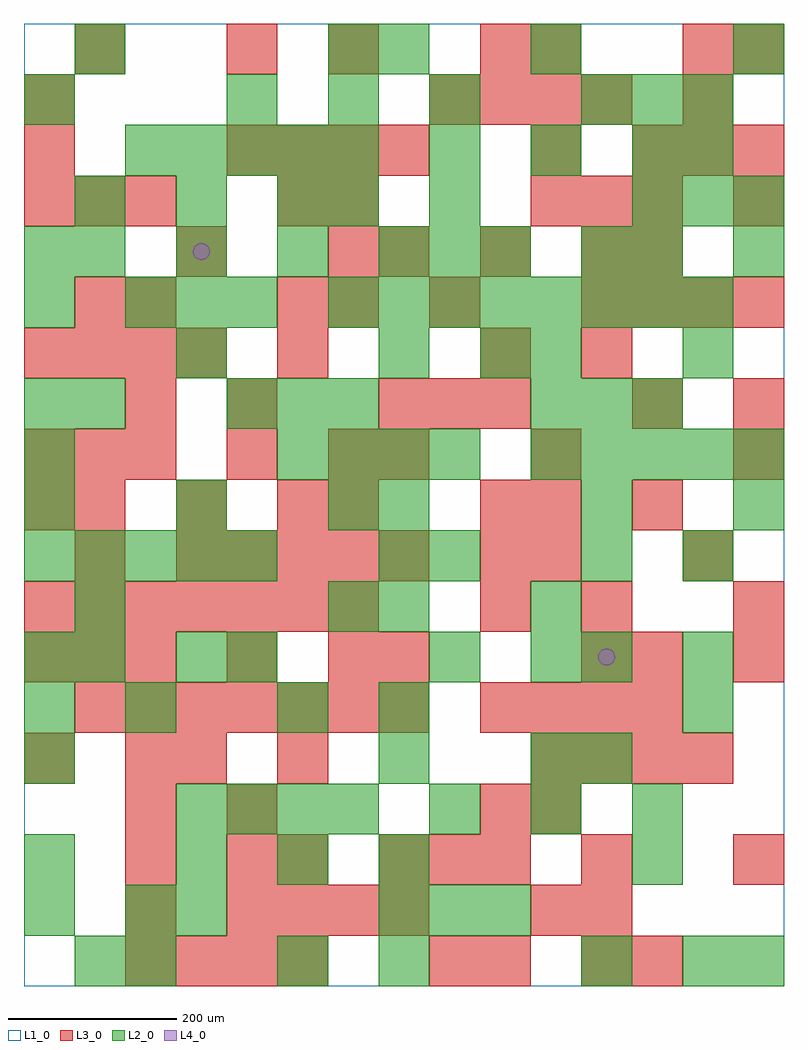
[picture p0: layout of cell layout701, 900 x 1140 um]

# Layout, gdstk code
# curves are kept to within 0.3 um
import gdstk
lib = gdstk.Library(unit=1e-6, precision=1e-09)
def R(c, l, rs):  # rectangles x0, y0, x1, y1
    for r in rs: c.add(gdstk.rectangle(r[:2], r[2:], *l))
def A(c, l, x, y, w, h, nx, ny, dx, dy):  # array of equal rectangles
    R(c, l, [(x+i*dx, y+j*dy, x+i*dx+w, y+j*dy+h) for i in range(nx) for j in range(ny)])
def P(c, l, *ps):  # polygons
    for p in ps: c.add(gdstk.Polygon(p, *l))
L1_0 = (1, 0)
L2_0 = (2, 0)
L3_0 = (3, 0)
L4_0 = (4, 0)

layout701 = lib.new_cell('layout701')
R(layout701, L1_0, [(0,0,900,1140)])
A(layout701, L2_0, 420, 60, 60, 60, 3, 1, 60, 0)
A(layout701, L2_0, 180, 120, 60, 60, 3, 1, 120, 0)
A(layout701, L2_0, 180, 180, 60, 60, 4, 1, 60, 0)
A(layout701, L2_0, 480, 180, 60, 60, 3, 2, 120, 780)
A(layout701, L2_0, 0, 240, 60, 60, 1, 3, 0, 60)
A(layout701, L2_0, 660, 240, 60, 60, 1, 3, 0, 120)
A(layout701, L2_0, 420, 420, 60, 60, 1, 3, 0, 60)
A(layout701, L2_0, 0, 480, 60, 60, 5, 1, 60, 0)
A(layout701, L2_0, 780, 480, 60, 60, 1, 3, 0, 240)
A(layout701, L2_0, 0, 540, 60, 60, 3, 1, 180, 0)
A(layout701, L2_0, 300, 600, 60, 60, 4, 1, 60, 0)
A(layout701, L2_0, 600, 600, 60, 60, 5, 1, 60, 0)
A(layout701, L2_0, 240, 660, 60, 60, 3, 1, 60, 0)
A(layout701, L2_0, 600, 660, 60, 60, 3, 1, 60, 0)
A(layout701, L2_0, 120, 780, 60, 60, 3, 1, 60, 0)
A(layout701, L2_0, 360, 780, 60, 60, 8, 1, 60, 0)
A(layout701, L2_0, 60, 840, 60, 60, 4, 1, 120, 0)
A(layout701, L2_0, 60, 900, 60, 60, 3, 1, 120, 0)
A(layout701, L2_0, 720, 900, 60, 60, 3, 1, 60, 0)
A(layout701, L2_0, 120, 960, 60, 60, 5, 1, 60, 0)
A(layout701, L2_0, 240, 1020, 60, 60, 3, 1, 120, 0)
A(layout701, L2_0, 660, 1020, 60, 60, 3, 1, 60, 0)
R(layout701, L2_0, [(60,0,120,60), (120,0,180,60), (300,0,360,60), (420,0,480,60), (660,0,720,60), (780,0,840,60), (840,0,900,60), (0,60,60,120), (120,60,180,120), (180,60,240,120), (0,120,60,180), (720,120,780,180), (420,240,480,300), (600,240,660,300), (120,300,180,360), (300,300,360,360), (420,300,480,360), (780,300,840,360), (60,360,120,420), (180,360,240,420), (240,360,300,420), (480,360,540,420), (600,360,660,420), (780,360,840,420), (60,420,120,480), (360,420,420,480), (600,420,660,480), (480,480,540,540), (660,540,720,600), (840,540,900,600), (0,600,60,660), (0,660,60,720), (60,660,120,720), (180,720,240,780), (420,720,480,780), (540,720,600,780), (600,720,660,780), (0,780,60,840), (0,840,60,900), (480,840,540,900), (540,840,600,900), (660,840,720,900), (720,840,780,900), (840,840,900,900), (360,900,420,960), (480,900,540,960), (0,1020,60,1080), (60,1080,120,1140), (360,1080,420,1140), (420,1080,480,1140), (600,1080,660,1140), (840,1080,900,1140)])
A(layout701, L3_0, 120, 0, 60, 60, 4, 1, 60, 0)
A(layout701, L3_0, 660, 0, 60, 60, 1, 3, 0, 60)
A(layout701, L3_0, 120, 60, 60, 60, 1, 4, 0, 60)
A(layout701, L3_0, 240, 60, 60, 60, 4, 2, 60, 900)
A(layout701, L3_0, 420, 120, 60, 60, 3, 2, 60, 540)
A(layout701, L3_0, 600, 240, 60, 60, 4, 1, 60, 0)
A(layout701, L3_0, 60, 300, 60, 60, 7, 1, 60, 0)
A(layout701, L3_0, 540, 300, 60, 60, 4, 1, 60, 0)
A(layout701, L3_0, 0, 360, 60, 60, 3, 2, 60, 240)
A(layout701, L3_0, 0, 420, 60, 60, 7, 1, 60, 0)
A(layout701, L3_0, 540, 420, 60, 60, 1, 3, 0, 60)
A(layout701, L3_0, 60, 480, 60, 60, 1, 3, 0, 300)
A(layout701, L3_0, 180, 480, 60, 60, 5, 1, 60, 0)
A(layout701, L3_0, 600, 480, 60, 60, 1, 3, 0, 60)
A(layout701, L3_0, 60, 540, 60, 60, 3, 1, 120, 0)
A(layout701, L3_0, 0, 720, 60, 60, 4, 1, 60, 0)
A(layout701, L3_0, 360, 780, 60, 60, 1, 3, 0, 60)
A(layout701, L3_0, 660, 780, 60, 60, 4, 1, 60, 0)
A(layout701, L3_0, 420, 840, 60, 60, 3, 1, 120, 0)
A(layout701, L3_0, 0, 900, 60, 60, 3, 1, 60, 0)
A(layout701, L3_0, 600, 900, 60, 60, 3, 1, 60, 0)
A(layout701, L3_0, 720, 960, 60, 60, 3, 1, 60, 0)
A(layout701, L3_0, 480, 1020, 60, 60, 4, 1, 60, 0)
R(layout701, L3_0, [(480,0,540,60), (540,0,600,60), (720,0,780,60), (600,60,660,120), (240,120,300,180), (300,120,360,180), (840,120,900,180), (240,180,300,240), (540,180,600,240), (600,180,660,240), (0,240,60,300), (180,240,240,300), (300,240,360,300), (240,360,300,420), (360,360,420,420), (420,360,480,420), (660,360,720,420), (720,360,780,420), (840,360,900,420), (660,420,720,480), (840,420,900,480), (780,480,840,540), (0,540,60,600), (360,540,420,600), (720,540,780,600), (240,600,300,660), (360,600,420,660), (420,600,480,660), (840,600,900,660), (120,660,180,720), (240,660,300,720), (720,660,780,720), (840,660,900,720), (300,720,360,780), (540,720,600,780), (660,720,720,780), (120,780,180,840), (300,780,360,840), (480,780,540,840), (180,840,240,900), (720,840,780,900), (300,900,360,960), (840,900,900,960), (0,960,60,1020), (600,960,660,1020), (0,1020,60,1080), (780,1020,840,1080), (240,1080,300,1140), (360,1080,420,1140), (540,1080,600,1140), (600,1080,660,1140), (780,1080,840,1140), (840,1080,900,1140)])
P(layout701, L4_0, [(220,870),(219.239,873.827),(217.071,877.071),(213.827,879.239),(210,880),(206.173,879.239),(202.929,877.071),(200.761,873.827),(200,870),(200.761,866.173),(202.929,862.929),(206.173,860.761),(210,860),(213.827,860.761),(217.071,862.929),(219.239,866.173)],
  [(700,390),(699.239,393.827),(697.071,397.071),(693.827,399.239),(690,400),(686.173,399.239),(682.929,397.071),(680.761,393.827),(680,390),(680.761,386.173),(682.929,382.929),(686.173,380.761),(690,380),(693.827,380.761),(697.071,382.929),(699.239,386.173)])

lib.write_gds('layout701.gds')
